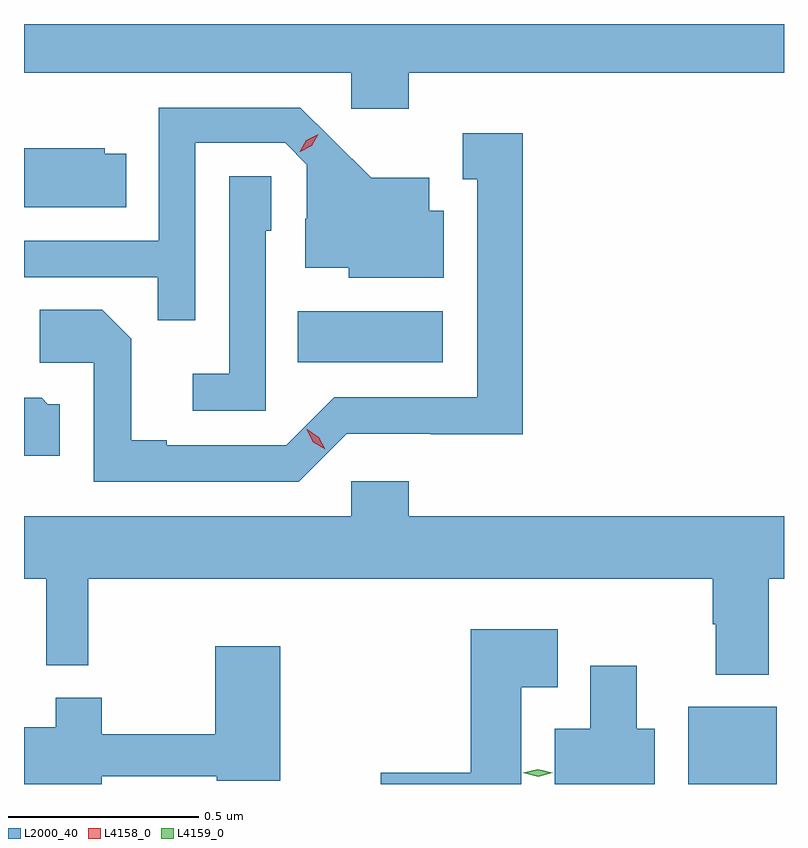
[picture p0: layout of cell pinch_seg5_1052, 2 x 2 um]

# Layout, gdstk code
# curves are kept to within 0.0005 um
import gdstk
lib = gdstk.Library(unit=1e-6, precision=1e-09)
def R(c, l, rs):  # rectangles x0, y0, x1, y1
    for r in rs: c.add(gdstk.rectangle(r[:2], r[2:], *l))
def P(c, l, *ps):  # polygons
    for p in ps: c.add(gdstk.Polygon(p, *l))
L2000_40 = (2000, 40)
L4158_0 = (4158, 0)
L4159_0 = (4159, 0)

pinch_seg5_1052 = lib.new_cell('pinch_seg5_1052')
R(pinch_seg5_1052, L2000_40, [(749.783,840.236,750.016,840.439), (748.756,841.346,749.137,841.48)])
P(pinch_seg5_1052, L2000_40, [(749.048,842.108),(750.035,842.108),(750.035,842.236),(748.035,842.236),(748.035,842.108),(748.896,842.108),(748.896,842.013),(749.048,842.013)],
  [(748.485,841.923),(748.722,841.923),(748.779,841.866),(748.779,841.724),(748.775,841.724),(748.775,841.595),(748.89,841.595),(748.89,841.568),(749.14,841.568),(749.14,841.744),(749.101,841.744),(749.101,841.831),(748.949,841.831),(748.762,842.016),(748.389,842.016),(748.389,841.665),(748.035,841.665),(748.035,841.569),(748.387,841.569),(748.387,841.456),(748.485,841.456)],
  [(748.884,841.158),(749.106,841.158),(749.106,841.157),(749.347,841.157),(749.347,841.948),(749.189,841.948),(749.189,841.827),(749.228,841.827),(749.228,841.254),(748.851,841.254),(748.725,841.128),(748.411,841.128),(748.411,841.141),(748.317,841.141),(748.317,841.408),(748.241,841.484),(748.077,841.484),(748.077,841.344),(748.218,841.344),(748.218,841.032),(748.758,841.032)],
  [(748.304,841.894),(748.248,841.894),(748.248,841.909),(748.035,841.909),(748.035,841.754),(748.304,841.754)],
  [(748.671,841.692),(748.686,841.692),(748.686,841.835),(748.575,841.835),(748.575,841.315),(748.479,841.315),(748.479,841.218),(748.671,841.218)],
  [(748.129,841.236),(748.098,841.236),(748.082,841.252),(748.035,841.252),(748.035,841.1),(748.129,841.1)],
  [(749.995,840.776),(750.035,840.776),(750.035,840.94),(749.048,840.94),(749.048,841.033),(748.896,841.033),(748.896,840.94),(748.035,840.94),(748.035,840.776),(748.094,840.776),(748.094,840.548),(748.204,840.548),(748.204,840.776),(749.848,840.776),(749.848,840.656),(749.855,840.656),(749.855,840.524),(749.995,840.524)],
  [(749.344,840.491),(749.44,840.491),(749.44,840.643),(749.21,840.643),(749.21,840.266),(748.974,840.266),(748.974,840.236),(749.344,840.236)],
  [(748.24,840.256),(748.542,840.256),(748.542,840.245),(748.709,840.245),(748.709,840.598),(748.538,840.598),(748.538,840.367),(748.24,840.367),(748.24,840.463),(748.118,840.463),(748.118,840.385),(748.035,840.385),(748.035,840.236),(748.24,840.236)],
  [(749.695,840.382),(749.647,840.382),(749.647,840.547),(749.525,840.547),(749.525,840.382),(749.432,840.382),(749.432,840.236),(749.695,840.236)])
P(pinch_seg5_1052, L4158_0, [(748.828,841.117),(748.796,841.136),(748.779,841.168),(748.779,841.169),(748.78,841.169),(748.811,841.149),(748.828,841.117),(748.828,841.117)],
  [(748.761,841.9),(748.761,841.9),(748.778,841.93),(748.809,841.946),(748.809,841.946),(748.809,841.946),(748.792,841.916),(748.762,841.9)])
P(pinch_seg5_1052, L4159_0, [(749.388,840.255),(749.348,840.265),(749.348,840.265),(749.348,840.265),(749.387,840.275),(749.427,840.266),(749.427,840.265),(749.427,840.265)])

lib.write_gds('pinch_seg5_1052.gds')
